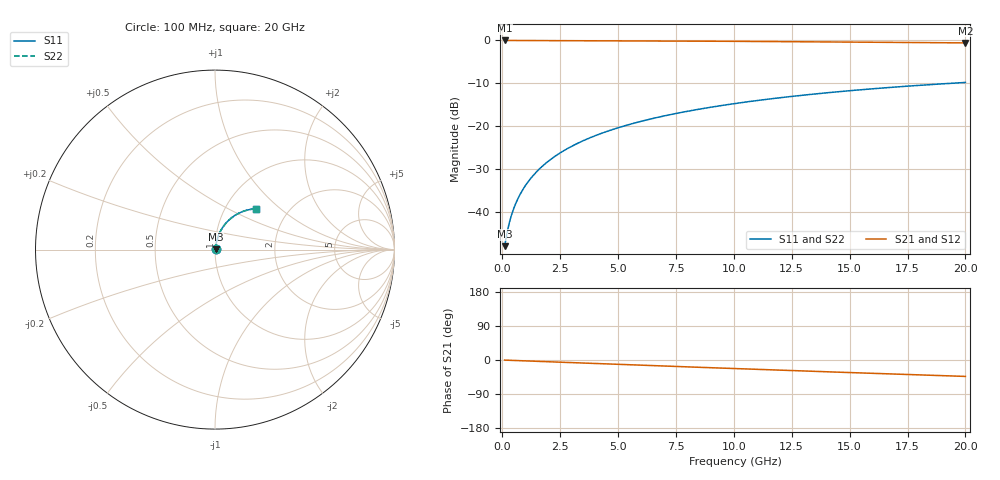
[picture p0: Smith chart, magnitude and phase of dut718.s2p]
! Touchstone file exported from HFSS 2026.1.0
!  File:  C:/ffzhzh/LocalFiles/Ansys_Project_Files/temp_train_TMRDL_718_1783154713_55132.aedt
!  Generated:  04:46:23 PM Jul  4, 2026
!  Design:  TMRDL
!  Project:  temp_train_TMRDL_718_1783154713_55132
! Variables:
!  h_bsmrdl = 2um
!  h_ox = 20um
!  h_rdl = 5um
!  h_sub = 80um
!  h_tmrdl = 3.35um
!  h_tsv = 80um
!  h_via = 3um
!  l_bsmrdl = 300um
!  l_sub = 1077.73um
!  l_tmrdl = 677.73um
!  m_sub = 200um
!  pitch = 41.34um
!  r_tsv = 6um
!  s_tmrdl = 10um
!  w_bsmrdl = 18um
!  w_sub = 500um
!  w_tmrdl = 22.98um
!  x_tsv_center1 = 689.22um
!  x_tsv_center2 = 1007.22um
!  x_tsv_center3 = 1707.93um
!  x_tsv_center4 = 2025.93um
!  x_tsv_center5 = 2726.64um
!  x_tsv_center6 = 3044.64um
# GHz S MA R 50.000000
! Terminal data exported
! Port[1] = TM_RDL1_1_T1
! Port[2] = TM_RDL1_1_T2
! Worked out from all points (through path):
!   200 points, 100 MHz to 20 GHz, reference 50 ohm
!   highest |S21| = -0.03 dB at 100 MHz (marker M1); lowest = -0.6 dB at 20 GHz (marker M2)
!   group delay of S21, straight-line fit = 6.02 ps
!   lowest |S11| = -47.9 dB at 100 MHz (marker M3), VSWR 1.01, Z = 50.3 + j0.227 ohm
!   |S11| at or under -10 dB: start of sweep to 19.37 GHz
!   |S22| runs from -47.9 to -9.8 dB; largest |S21 - S12| = 2.7e-15
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0.1  0.004036 34.0  0.9967 -0.2  0.9967 -0.2  0.004036 34.0
! Gamma 0 0 0 0
! Port Impedance 50 0 50 0
0.2  0.005671 51.0  0.9965 -0.5  0.9965 -0.5  0.005671 51.0
0.3  0.007497 59.3  0.9962 -0.7  0.9962 -0.7  0.007498 59.3
0.4  0.009341 64.2  0.996 -1.0  0.996 -1.0  0.009341 64.2
0.5  0.01118 67.4  0.9959 -1.2  0.9959 -1.2  0.01118 67.4
0.6  0.01302 69.8  0.9957 -1.4  0.9957 -1.4  0.01302 69.8
0.8  0.01673 73.0  0.9955 -1.9  0.9955 -1.9  0.01673 73.0
1.1  0.02236 75.8  0.9953 -2.6  0.9953 -2.6  0.02236 75.8
1.3  0.02616 76.9  0.9951 -3.0  0.9951 -3.0  0.02616 76.9
1.6  0.03188 77.8  0.9948 -3.7  0.9948 -3.7  0.03188 77.8
2.1  0.04144 78.4  0.9943 -4.9  0.9943 -4.9  0.04144 78.4
2.7  0.05291 78.2  0.9935 -6.2  0.9935 -6.2  0.05291 78.2
3.5  0.06812 77.3  0.9922 -8.1  0.9922 -8.1  0.06812 77.3
4.2  0.08128 76.2  0.9908 -9.6  0.9908 -9.6  0.08128 76.2
5  0.09613 74.7  0.989 -11.5  0.989 -11.5  0.09613 74.7
5.9  0.1126 73.0  0.9867 -13.5  0.9867 -13.5  0.1126 73.0
6.8  0.1287 71.2  0.9842 -15.5  0.9842 -15.5  0.1287 71.2
8.3  0.1548 68.1  0.9795 -18.8  0.9795 -18.8  0.1548 68.1
10.1  0.1849 64.4  0.9733 -22.7  0.9733 -22.7  0.1849 64.3
13.4  0.2363 57.6  0.9608 -29.8  0.9608 -29.8  0.2363 57.6
16.7  0.2827 51.0  0.9473 -36.7  0.9473 -36.7  0.2827 51.0
20  0.3237 44.5  0.9337 -43.3  0.9337 -43.3  0.3237 44.5
